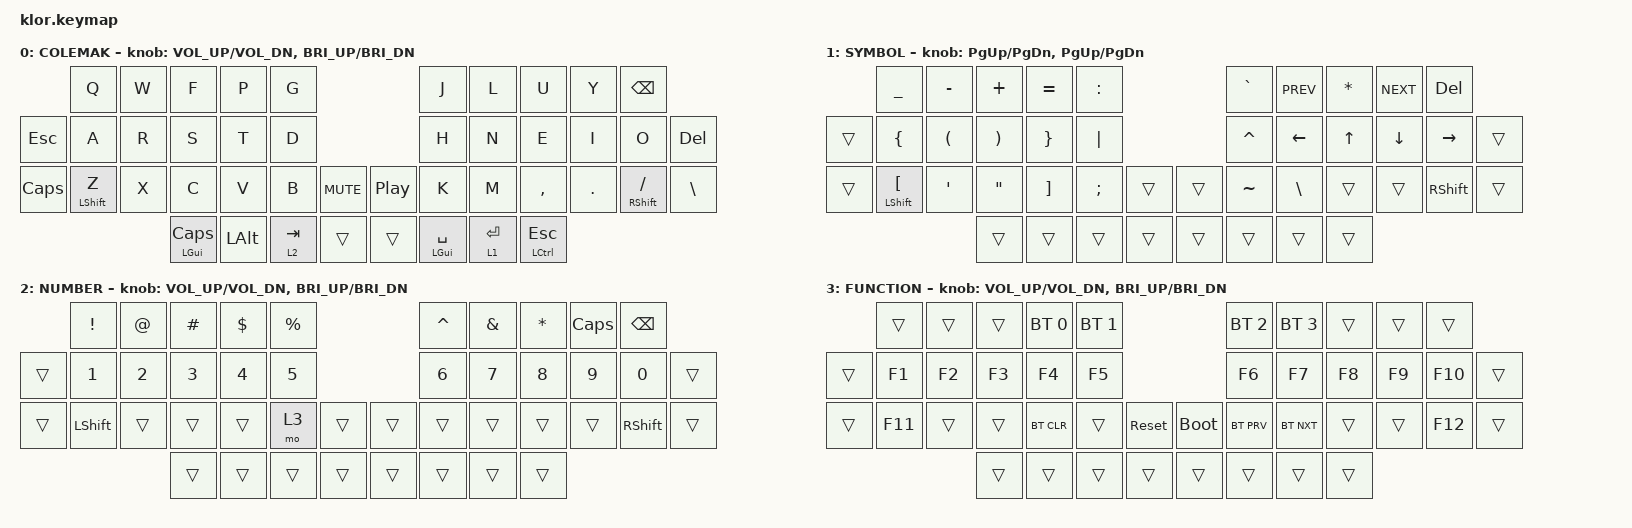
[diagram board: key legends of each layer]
#include <behaviors.dtsi>
#include <dt-bindings/zmk/bt.h>
#include <dt-bindings/zmk/keys.h>

#define BASE   0
#define LOWER  2 // nav 
#define RAISE  3 // sym
#define ADJUST 5 

&lt { quick-tap-ms = <200>; };

// DO NOT MAKE LAYER LABELS LARGER

/ {
    keymap {
        compatible = "zmk,keymap";

// ▄▄▄▄▄▄▄▄▄▄▄▄▄▄▄▄▄▄▄▄▄▄▄▄▄▄▄▄▄▄▄▄▄▄▄▄▄▄▄▄▄▄▄▄▄▄▄▄▄▄▄▄▄▄▄▄▄▄▄▄▄▄▄▄▄▄▄▄▄▄▄▄▄▄▄▄▄▄▄▄▄▄▄▄▄▄▄▄▄▄▄▄▄▄▄▄▄▄▄▄▄▄▄▄▄▄▄▄▄▄▄▄▄▄▄▄▄▄▄▄▄▄▄▄▄▄▄▄▄▄▄▄▄▄▄▄▄▄▄▄▄▄

        colemak {
// ┌───────────────────────────────────────────────────────────┐
display-name = "COLEMAK"                                       ;
// └───────────────────────────────────────────────────────────┘
/*           ┌─────────┬─────────┬─────────┬─────────┬─────────┐                               ┌─────────┬─────────┬─────────┬─────────┬─────────┐
             │    Q    │    W    │    F    │    P    │    G    │                               │    J    │    L    │    U    │    Y    │    ;    │   
   ┌─────────┼─────────┼─────────┼─────────┼─────────┼─────────┤                               ├─────────┼─────────┼─────────┼─────────┼─────────┼─────────┐
   │   TAB   │    A    │    R    │    S    │    T    │    D    │                               │    H    │    N    │    E    │    I    │    O    │    "    │
   ├─────────┼─────────┼─────────┼─────────┼─────────┼─────────┤╭────────╮           ╭────────╮├─────────┼─────────┼─────────┼─────────┼─────────┼─────────┤
   │  CAP L  │    Z    │    X    │    C    │    V    │    B    ││  MUTE  │           │PLY/PSE ││    K    │    M    │    ,    │    .    │    /    │    \    │
   └─────────┴─────────┴─────────┼─────────┼─────────┼─────────┼╰────────╯           ╰────────╯┼─────────┼─────────┼─────────┼─────────┴─────────┴─────────┘
                                 │  CTRL   │  LOWER  │  TAB/2  │   ALT   │           │ CMD/WIN │  SPC/3  │  ENTER  │  BSPCE  │  
                                 └─────────┴─────────┴─────────┴─────────┘           └─────────┴─────────┴─────────┴─────────┘ */
            bindings = <
              &kp Q         &kp W       &kp F           &kp P     &kp G                               &kp J           &kp L        &kp U         &kp Y    &kp BACKSPACE
&kp ESC       &kp A         &kp R       &kp S           &kp T     &kp D                               &kp H           &kp N        &kp E         &kp I    &kp O             &kp DEL
&kp CAPSLOCK  &mt LSHIFT Z  &kp X       &kp C           &kp V     &kp B      &kp C_MUTE     &kp C_PP  &kp K           &kp M        &kp COMMA     &kp DOT  &mt RSHIFT FSLH   &kp BSLH
                                        &mt LGUI CAPS   &kp LALT  &lt 2 TAB  &trans         &trans    &mt LGUI SPACE  &lt 1 ENTER  &mt LCTRL ESC
            >;

            sensor-bindings = <&inc_dec_kp C_VOL_UP C_VOL_DN &inc_dec_kp C_BRI_UP C_BRI_DN>;
        };

// ▄▄▄▄▄▄▄▄▄▄▄▄▄▄▄▄▄▄▄▄▄▄▄▄▄▄▄▄▄▄▄▄▄▄▄▄▄▄▄▄▄▄▄▄▄▄▄▄▄▄▄▄▄▄▄▄▄▄▄▄▄▄▄▄▄▄▄▄▄▄▄▄▄▄▄▄▄▄▄▄▄▄▄▄▄▄▄▄▄▄▄▄▄▄▄▄▄▄▄▄▄▄▄▄▄▄▄▄▄▄▄▄▄▄▄▄▄▄▄▄▄▄▄▄▄▄▄▄▄▄▄▄▄▄▄▄▄▄▄▄▄▄ 

        sym {
            display-name = "SYMBOL";
            bindings = <
        &kp UNDER        &kp MINUS  &kp PLUS  &kp EQUAL  &kp COLON                          &kp GRAVE   &kp C_PREV  &kp STAR   &kp C_NEXT   &kp DEL
&trans  &kp LBRC         &kp LPAR   &kp RPAR  &kp RBRC   &kp PIPE                           &kp CARET   &kp LEFT    &kp UP     &kp DOWN     &kp RIGHT     &trans
&trans  &mt LSHIFT LBKT  &kp SQT    &kp DQT   &kp RBKT   &kp SEMICOLON  &trans      &trans  &kp TILDE   &kp BSLH    &trans     &trans       &kp RSHIFT    &trans    
                                    &trans    &trans     &trans         &trans      &trans  &trans      &trans      &trans
            >;

            sensor-bindings = <&inc_dec_kp PG_UP PG_DN &inc_dec_kp PG_UP PG_DN>;
        };

        num {
            display-name = "NUMBER";
            bindings = <
        &kp EXCL   &kp AT  &kp HASH  &kp DLLR  &kp PRCNT                     &kp CARET  &kp AMPS   &kp STAR  &kp CAPS  &kp BACKSPACE
&trans  &kp N1     &kp N2  &kp N3    &kp N4    &kp N5                        &kp N6     &kp N7     &kp N8    &kp N9    &kp N0          &trans
&trans  &kp LSHFT  &trans  &trans    &trans    &mo 3      &trans     &trans  &trans     &trans     &trans    &trans    &kp RSHIFT      &trans
                           &trans    &trans    &trans     &trans     &trans  &trans     &trans     &trans
            >;

            sensor-bindings = <&inc_dec_kp C_VOL_UP C_VOL_DN &inc_dec_kp C_BRI_UP C_BRI_DN>;
        };

        fun {
            display-name = "FUNCTION";
            bindings = <
        &trans   &trans   &trans   &bt BT_SEL 0  &bt BT_SEL 1                                &bt BT_SEL 2  &bt BT_SEL 3  &trans  &trans  &trans
&trans  &kp F1   &kp F2   &kp F3   &kp F4        &kp F5                                      &kp F6        &kp F7        &kp F8  &kp F9  &kp F10  &trans
&trans  &kp F11  &trans   &trans   &bt BT_CLR    &trans        &sys_reset       &bootloader  &bt BT_PRV    &bt BT_NXT    &trans  &trans  &kp F12  &trans
                          &trans   &trans        &trans        &trans           &trans       &trans        &trans        &trans
            >;

            sensor-bindings = <&inc_dec_kp C_VOL_UP C_VOL_DN &inc_dec_kp C_BRI_UP C_BRI_DN>;
        };
    };
};
